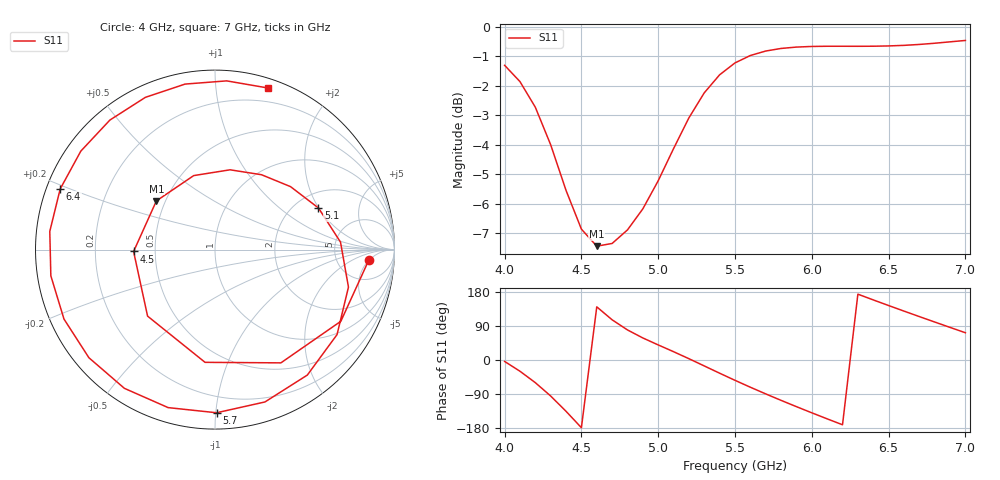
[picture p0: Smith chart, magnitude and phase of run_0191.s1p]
! Touchstone file exported from HFSS 2024.2.0
!  File:  C:/Users/wsak9/Desktop/Sim Fast/Widenad Patch/WP_AI_V1_sweep.aedt
!  Generated:  10:54:34 PM Oct 13, 2026
!  Design:  A1_model
!  Project:  WP_AI_V1_sweep
!  Setup:  Setup1
!  Solution:  Sweep
! Variables:
!  Air_gap = 3.22mm
!  Curve_Amp1 = 0.89
!  Curve_len1 = 1
!  Curve_pos = 12.945mm
!  Extra = 7.18mm
!  H_sub = 0.79mm
!  L_Patch = 21.89mm
!  L_Patch1 = 19.38mm
!  Sx = 4.23mm
!  Sy = 3.39mm
!  WS = 1.43mm
!  W_Patch = 12.37mm
!  W_Patch1 = 12.2mm
!Data is not renormalized
# GHz S MA
! Terminal data exported
! Port[1] = 1
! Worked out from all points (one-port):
!   31 points, 4 GHz to 7 GHz, reference per port
!   lowest |S11| = -7.4 dB at 4.6 GHz (marker M1), VSWR 2.48
!   |S11| at or under -10 dB: nowhere
!   S11 on the Smith chart (normalised r, x): 4 GHz: 11, -5; 4.5 GHz: 0.38, -0.01; 5.1 GHz: 2.63, +1.99; 5.7 GHz: 0.10, -1.01; 6.4 GHz: 0.04, +0.19; 7 GHz: 0.08, +1.38
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4  0.8598 -3.8
4.1  0.8069 -29.7
4.2  0.7301 -59.8
4.3  0.6305 -95.0
4.4  0.5277 -135.4
4.5  0.4537 -178.7
4.6  0.4246 140.3
4.7  0.4291 106.0
4.8  0.4524 79.3
5  0.548 39.8
5.1  0.6212 21.9
5.2  0.7005 3.4
5.3  0.7724 -15.7
5.4  0.8286 -34.9
5.5  0.8679 -53.7
5.6  0.8933 -71.8
5.7  0.9091 -89.4
5.8  0.9183 -106.5
5.9  0.9232 -123.1
6  0.9254 -139.4
6.1  0.9262 -155.3
6.2  0.9262 -170.9
6.3  0.926 173.7
6.4  0.9263 158.6
6.6  0.9294 129.1
6.7  0.9327 114.6
6.9  0.9423 86.0
7  0.9474 71.9
